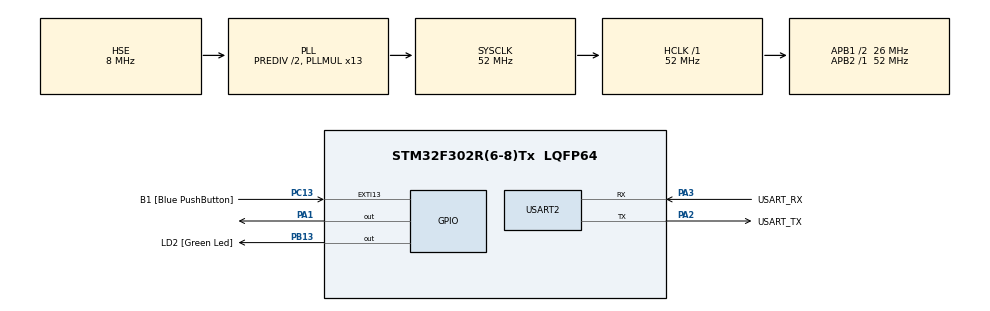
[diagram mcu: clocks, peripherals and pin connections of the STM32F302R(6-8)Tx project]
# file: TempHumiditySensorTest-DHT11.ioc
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Mcu.Family=STM32F3
Mcu.Name=STM32F302R(6-8)Tx
Mcu.Package=LQFP64
NVIC.PriorityGroup=NVIC_PRIORITYGROUP_0
PA1.Signal=GPIO_Output
PA13.GPIO_Label=TMS
PA13.Mode=Trace_Asynchronous_SW
PA13.Signal=SYS_JTMS-SWDIO
PA14.GPIO_Label=TCK
PA14.Mode=Trace_Asynchronous_SW
PA14.Signal=SYS_JTCK-SWCLK
PA2.GPIO_Label=USART_TX
PA2.GPIO_Mode=GPIO_MODE_AF_PP
PA2.GPIO_PuPd=GPIO_NOPULL
PA2.GPIO_Speed=GPIO_SPEED_FREQ_LOW
PA2.Mode=Asynchronous
PA2.Signal=USART2_TX
PA3.GPIO_Label=USART_RX
PA3.GPIO_Mode=GPIO_MODE_AF_PP
PA3.GPIO_PuPd=GPIO_NOPULL
PA3.GPIO_Speed=GPIO_SPEED_FREQ_LOW
PA3.Mode=Asynchronous
PA3.Signal=USART2_RX
PB13.GPIO_Label=LD2 [Green Led]
PB13.Signal=GPIO_Output
PB3.GPIO_Label=SWO
PB3.Mode=Trace_Asynchronous_SW
PB3.Signal=SYS_JTDO-TRACESWO
PC13.GPIO_Label=B1 [Blue PushButton]
PC13.GPIO_ModeDefaultEXTI=GPIO_MODE_IT_FALLING
PC13.Signal=GPXTI13
PC14\ -\ OSC32_IN.Mode=LSE-External-Oscillator
PC14\ -\ OSC32_IN.Signal=RCC_OSC32_IN
PC15\ -\ OSC32_OUT.Mode=LSE-External-Oscillator
PC15\ -\ OSC32_OUT.Signal=RCC_OSC32_OUT
PF0-OSC_IN.Mode=HSE-External-Oscillator
PF0-OSC_IN.Signal=RCC_OSC_IN
PF1-OSC_OUT.Mode=HSE-External-Oscillator
PF1-OSC_OUT.Signal=RCC_OSC_OUT
ProjectManager.HeapSize=0x200
ProjectManager.StackSize=0x400
ProjectManager.TargetToolchain=STM32CubeIDE
RCC.AHBFreq_Value=52000000
RCC.APB1CLKDivider=RCC_HCLK_DIV2
RCC.APB1Freq_Value=26000000
RCC.APB1TimFreq_Value=52000000
RCC.APB2Freq_Value=52000000
RCC.APB2TimFreq_Value=52000000
RCC.CortexFreq_Value=52000000
RCC.HCLKFreq_Value=52000000
RCC.HSE_VALUE=8000000
RCC.HSI_VALUE=8000000
RCC.PLLM=8
RCC.PLLMUL=RCC_PLL_MUL13
RCC.PLLN=336
RCC.PLLP=RCC_PLLP_DIV4
RCC.PLLQ=7
RCC.PLLSourceVirtual=RCC_PLLSOURCE_HSE
RCC.RCC_PLLsource_Clock_Source_FROM_HSE=RCC_HSE_PREDIV_DIV2
RCC.SYSCLKFreq_VALUE=52000000
RCC.SYSCLKSourceVirtual=RCC_SYSCLKSOURCE_PLLCLK
RCC.USBFreq_Value=52000000
TIM6.Prescaler=52 - 1
USART2.VirtualMode-Asynchronous=VM_ASYNC
VP_TIM6_VS_ClockSourceINT.Mode=Enable_Timer
board=NUCLEO-F302R8

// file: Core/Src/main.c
/* USER CODE BEGIN Header */
/**
  ******************************************************************************
  * @file           : main.c
  * @brief          : Main program body
  ******************************************************************************
  * @attention
  *
  * Copyright (c) 2026 STMicroelectronics.
  * All rights reserved.
  *
  * This software is licensed under terms that can be found in the LICENSE file
  * in the root directory of this software component.
  * If no LICENSE file comes with this software, it is provided AS-IS.
  *
  ******************************************************************************
  */
/* USER CODE END Header */
#include "main.h"

/* USER CODE BEGIN Includes */
#include "stdio.h"
/* USER CODE END Includes */

/* USER CODE BEGIN PD */
#define DHT11_PORT GPIOA
#define DHT11_PIN GPIO_PIN_1
/* USER CODE END PD */

TIM_HandleTypeDef htim6;

UART_HandleTypeDef huart2;

void SystemClock_Config(void);
static void MX_GPIO_Init(void);
static void MX_USART2_UART_Init(void);
static void MX_TIM6_Init(void);

/* USER CODE BEGIN 0 */

// ... inside main.c or a separate syscalls.c file ...

int _write(int file, char *ptr, int len)
{
    for(int DataIdx = 0; DataIdx < len; DataIdx++)
    {
        ITM_SendChar(*ptr++);
    }
    return len;
}

void delay(uint16_t time){
	__HAL_TIM_SET_COUNTER(&htim6, 0);
	while((__HAL_TIM_GET_COUNTER(&htim6)) < time);
}

uint8_t Rh_byte1, Rh_byte2, Temp_byte1, Temp_byte2;
uint16_t SUM, RH, TEMP;

float Temperature = 0;
float Humidity = 0;
uint8_t Presence = 0;

void Set_Pin_Output (GPIO_TypeDef *GPIOx, uint16_t GPIO_Pin)
{
GPIO_InitTypeDef GPIO_InitStruct = {0};
GPIO_InitStruct.Pin = GPIO_Pin;
GPIO_InitStruct.Mode = GPIO_MODE_OUTPUT_PP;
GPIO_InitStruct.Speed = GPIO_SPEED_FREQ_LOW;
HAL_GPIO_Init(GPIOx, &GPIO_InitStruct);
}

void Set_Pin_Input (GPIO_TypeDef *GPIOx, uint16_t GPIO_Pin)
{
GPIO_InitTypeDef GPIO_InitStruct = {0};
GPIO_InitStruct.Pin = GPIO_Pin;
GPIO_InitStruct.Mode = GPIO_MODE_INPUT;
GPIO_InitStruct.Pull = GPIO_NOPULL;
HAL_GPIO_Init(GPIOx, &GPIO_InitStruct);
}

void DHT11_Start (void)
{
	Set_Pin_Output (DHT11_PORT, DHT11_PIN);  // set the pin as output
	HAL_GPIO_WritePin (DHT11_PORT, DHT11_PIN, 0);   // pull the pin low
	delay (18000);   // wait for 18ms
	HAL_GPIO_WritePin (DHT11_PORT, DHT11_PIN, 1);
	delay (20);
	Set_Pin_Input(DHT11_PORT, DHT11_PIN);    // set as input
}

uint8_t Check_Response (void)
{
	uint8_t Response = 0;
	delay (40);
	if (!(HAL_GPIO_ReadPin (DHT11_PORT, DHT11_PIN)))
	{
		delay (80);
		if ((HAL_GPIO_ReadPin (DHT11_PORT, DHT11_PIN))) Response = 1;
		else Response = -1;
	}
	while ((HAL_GPIO_ReadPin (DHT11_PORT, DHT11_PIN)));   // wait for the pin to go low

	return Response;
}

uint8_t DHT11_Read (void)
{
	uint8_t i,j;
	for (j=0;j<8;j++)
	{
		while (!(HAL_GPIO_ReadPin (DHT11_PORT, DHT11_PIN)));   // wait for the pin to go high
		delay (40);   // wait for 40 us
		if (!(HAL_GPIO_ReadPin (DHT11_PORT, DHT11_PIN)))   // if the pin is low
		{
			i&= ~(1<<(7-j));   // write 0
		}
		else i|= (1<<(7-j));  // if the pin is high, write 1
		while ((HAL_GPIO_ReadPin (DHT11_PORT, DHT11_PIN)));  // wait for the pin to go low
	}
	return i;
}
/* USER CODE END 0 */

int main(void)
{

  /* MCU Configuration--------------------------------------------------------*/

  /* Reset of all peripherals, Initializes the Flash interface and the Systick. */
  HAL_Init();

  /* Configure the system clock */
  SystemClock_Config();

  /* Initialize all configured peripherals */
  MX_GPIO_Init();
  MX_USART2_UART_Init();
  MX_TIM6_Init();
  /* USER CODE BEGIN 2 */
  HAL_TIM_Base_Start(&htim6);

  /* USER CODE END 2 */

  /* Infinite loop */
  while (1)
  {

    /* USER CODE BEGIN 3 */
	  	  	DHT11_Start();
	        Presence = Check_Response();
	        Rh_byte1 = DHT11_Read ();
	        Rh_byte2 = DHT11_Read ();
	        Temp_byte1 = DHT11_Read ();
	        Temp_byte2 = DHT11_Read ();
	        SUM = DHT11_Read();

	        TEMP = Temp_byte1;
	        RH = Rh_byte1;

	        Temperature = (float) TEMP;
	        Humidity = (float) RH;

	        printf("Temperature: %.2f\n", Temperature);
	        printf("Humidity: %.2f\n", Humidity);

	        HAL_Delay(3000);

  }
  /* USER CODE END 3 */
}

void SystemClock_Config(void)
{
  RCC_OscInitTypeDef RCC_OscInitStruct = {0};
  RCC_ClkInitTypeDef RCC_ClkInitStruct = {0};

  /** Initializes the RCC Oscillators according to the specified parameters
  * in the RCC_OscInitTypeDef structure.
  */
  RCC_OscInitStruct.OscillatorType = RCC_OSCILLATORTYPE_HSE;
  RCC_OscInitStruct.HSEState = RCC_HSE_ON;
  RCC_OscInitStruct.HSEPredivValue = RCC_HSE_PREDIV_DIV2;
  RCC_OscInitStruct.HSIState = RCC_HSI_ON;
  RCC_OscInitStruct.PLL.PLLState = RCC_PLL_ON;
  RCC_OscInitStruct.PLL.PLLSource = RCC_PLLSOURCE_HSE;
  RCC_OscInitStruct.PLL.PLLMUL = RCC_PLL_MUL13;
  if (HAL_RCC_OscConfig(&RCC_OscInitStruct) != HAL_OK)
  {
    Error_Handler();
  }

  /** Initializes the CPU, AHB and APB buses clocks
  */
  RCC_ClkInitStruct.ClockType = RCC_CLOCKTYPE_HCLK|RCC_CLOCKTYPE_SYSCLK
                              |RCC_CLOCKTYPE_PCLK1|RCC_CLOCKTYPE_PCLK2;
  RCC_ClkInitStruct.SYSCLKSource = RCC_SYSCLKSOURCE_PLLCLK;
  RCC_ClkInitStruct.AHBCLKDivider = RCC_SYSCLK_DIV1;
  RCC_ClkInitStruct.APB1CLKDivider = RCC_HCLK_DIV2;
  RCC_ClkInitStruct.APB2CLKDivider = RCC_HCLK_DIV1;

  if (HAL_RCC_ClockConfig(&RCC_ClkInitStruct, FLASH_LATENCY_2) != HAL_OK)
  {
    Error_Handler();
  }
}

static void MX_TIM6_Init(void)
{

  TIM_MasterConfigTypeDef sMasterConfig = {0};

  htim6.Instance = TIM6;
  htim6.Init.Prescaler = 52 - 1;
  htim6.Init.CounterMode = TIM_COUNTERMODE_UP;
  htim6.Init.Period = 65535;
  htim6.Init.AutoReloadPreload = TIM_AUTORELOAD_PRELOAD_DISABLE;
  if (HAL_TIM_Base_Init(&htim6) != HAL_OK)
  {
    Error_Handler();
  }
  sMasterConfig.MasterOutputTrigger = TIM_TRGO_RESET;
  sMasterConfig.MasterSlaveMode = TIM_MASTERSLAVEMODE_DISABLE;
  if (HAL_TIMEx_MasterConfigSynchronization(&htim6, &sMasterConfig) != HAL_OK)
  {
    Error_Handler();
  }

}

static void MX_USART2_UART_Init(void)
{

  huart2.Instance = USART2;
  huart2.Init.BaudRate = 38400;
  huart2.Init.WordLength = UART_WORDLENGTH_8B;
  huart2.Init.StopBits = UART_STOPBITS_1;
  huart2.Init.Parity = UART_PARITY_NONE;
  huart2.Init.Mode = UART_MODE_TX_RX;
  huart2.Init.HwFlowCtl = UART_HWCONTROL_NONE;
  huart2.Init.OverSampling = UART_OVERSAMPLING_16;
  huart2.Init.OneBitSampling = UART_ONE_BIT_SAMPLE_DISABLE;
  huart2.AdvancedInit.AdvFeatureInit = UART_ADVFEATURE_NO_INIT;
  if (HAL_UART_Init(&huart2) != HAL_OK)
  {
    Error_Handler();
  }

}

static void MX_GPIO_Init(void)
{
  GPIO_InitTypeDef GPIO_InitStruct = {0};

  /* GPIO Ports Clock Enable */
  __HAL_RCC_GPIOC_CLK_ENABLE();
  __HAL_RCC_GPIOF_CLK_ENABLE();
  __HAL_RCC_GPIOA_CLK_ENABLE();
  __HAL_RCC_GPIOB_CLK_ENABLE();

  /*Configure GPIO pin Output Level */
  HAL_GPIO_WritePin(GPIOA, GPIO_PIN_1, GPIO_PIN_RESET);

  /*Configure GPIO pin Output Level */
  HAL_GPIO_WritePin(LD2_GPIO_Port, LD2_Pin, GPIO_PIN_RESET);

  /*Configure GPIO pin : B1_Pin */
  GPIO_InitStruct.Pin = B1_Pin;
  GPIO_InitStruct.Mode = GPIO_MODE_IT_FALLING;
  GPIO_InitStruct.Pull = GPIO_NOPULL;
  HAL_GPIO_Init(B1_GPIO_Port, &GPIO_InitStruct);

  /*Configure GPIO pin : PA1 */
  GPIO_InitStruct.Pin = GPIO_PIN_1;
  GPIO_InitStruct.Mode = GPIO_MODE_OUTPUT_PP;
  GPIO_InitStruct.Pull = GPIO_NOPULL;
  GPIO_InitStruct.Speed = GPIO_SPEED_FREQ_LOW;
  HAL_GPIO_Init(GPIOA, &GPIO_InitStruct);

  /*Configure GPIO pin : LD2_Pin */
  GPIO_InitStruct.Pin = LD2_Pin;
  GPIO_InitStruct.Mode = GPIO_MODE_OUTPUT_PP;
  GPIO_InitStruct.Pull = GPIO_NOPULL;
  GPIO_InitStruct.Speed = GPIO_SPEED_FREQ_LOW;
  HAL_GPIO_Init(LD2_GPIO_Port, &GPIO_InitStruct);

}

void Error_Handler(void)
{
  __disable_irq();
  while (1)
  {
  }
}
